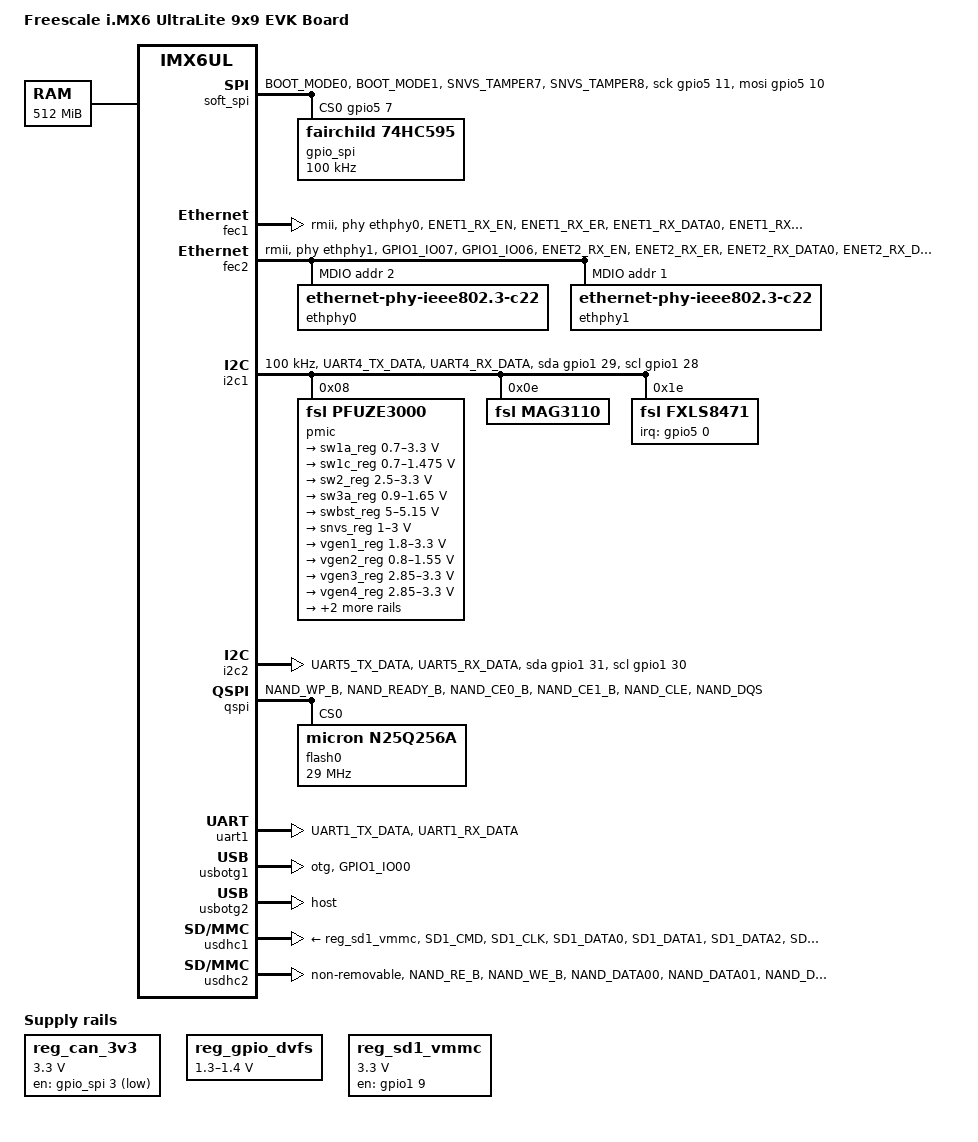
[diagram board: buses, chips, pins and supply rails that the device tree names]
// SPDX-License-Identifier: GPL-2.0+
/*
 * Copyright (C) 2015 Freescale Semiconductor, Inc.
 * Copyright 2017-2018 NXP
 */

/dts-v1/;

#include "imx6ul.dtsi"

/ {
	model = "Freescale i.MX6 UltraLite 9x9 EVK Board";
	compatible = "fsl,imx6ul-9x9-evk", "fsl,imx6ul";

	aliases {
		spi5 = &soft_spi;
	};

	chosen {
		stdout-path = &uart1;
	};

	memory {
		reg = <0x80000000 0x20000000>;
	};

	regulators {
		compatible = "simple-bus";
		#address-cells = <1>;
		#size-cells = <0>;

		reg_can_3v3: regulator@0 {
			compatible = "regulator-fixed";
			reg = <0>;
			regulator-name = "can-3v3";
			regulator-min-microvolt = <3300000>;
			regulator-max-microvolt = <3300000>;
			gpios = <&gpio_spi 3 GPIO_ACTIVE_LOW>;
		};

		reg_gpio_dvfs: regulator-gpio {
			compatible = "regulator-gpio";
			pinctrl-names = "default";
			pinctrl-0 = <&pinctrl_dvfs>;
			regulator-min-microvolt = <1300000>;
			regulator-max-microvolt = <1400000>;
			regulator-name = "gpio_dvfs";
			regulator-type = "voltage";
			gpios = <&gpio5 3 GPIO_ACTIVE_HIGH>;
			states = <1300000 0x1 1400000 0x0>;
		};

		reg_sd1_vmmc: regulator@1 {
			compatible = "regulator-fixed";
			regulator-name = "VSD_3V3";
			regulator-min-microvolt = <3300000>;
			regulator-max-microvolt = <3300000>;
			gpio = <&gpio1 9 GPIO_ACTIVE_HIGH>;
			off-on-delay = <20000>;
			enable-active-high;
		};
	};

	soft_spi: soft-spi {
		compatible = "spi-gpio";
		pinctrl-names = "default";
		pinctrl-0 = <&pinctrl_spi4>;
		pinctrl-assert-gpios = <&gpio5 8 GPIO_ACTIVE_LOW>;
		status = "okay";
		gpio-sck = <&gpio5 11 0>;
		gpio-mosi = <&gpio5 10 0>;
		cs-gpios = <&gpio5 7 0>;
		num-chipselects = <1>;
		#address-cells = <1>;
		#size-cells = <0>;

		gpio_spi: gpio_spi@0 {
			compatible = "fairchild,74hc595";
			gpio-controller;
			#gpio-cells = <2>;
			reg = <0>;
			registers-number = <1>;
			registers-default = /bits/ 8 <0x57>;
			spi-max-frequency = <100000>;
		};
	};
};

&fec1 {
	pinctrl-names = "default";
	pinctrl-0 = <&pinctrl_enet1>;
	phy-mode = "rmii";
	phy-handle = <&ethphy0>;
	status = "okay";
};

&fec2 {
	pinctrl-names = "default";
	pinctrl-0 = <&pinctrl_enet2>;
	phy-mode = "rmii";
	phy-handle = <&ethphy1>;
	status = "okay";

	mdio {
		#address-cells = <1>;
		#size-cells = <0>;

		ethphy0: ethernet-phy@2 {
			compatible = "ethernet-phy-ieee802.3-c22";
			reg = <2>;
		};

		ethphy1: ethernet-phy@1 {
			compatible = "ethernet-phy-ieee802.3-c22";
			reg = <1>;
		};
	};
};

&i2c1 {
	clock-frequency = <100000>;
	pinctrl-names = "default", "gpio";
	pinctrl-0 = <&pinctrl_i2c1>;
	pinctrl-1 = <&pinctrl_i2c1_gpio>;
	scl-gpios = <&gpio1 28 GPIO_ACTIVE_HIGH>;
	sda-gpios = <&gpio1 29 GPIO_ACTIVE_HIGH>;
	status = "okay";

	pmic: pfuze3000@08 {
		compatible = "fsl,pfuze3000";
		reg = <0x08>;

		regulators {
			sw1a_reg: sw1a {
					regulator-min-microvolt = <700000>;
					regulator-max-microvolt = <3300000>;
					regulator-boot-on;
					regulator-always-on;
					regulator-ramp-delay = <6250>;
			};

			/* use sw1c_reg to align with pfuze100/pfuze200 */
			sw1c_reg: sw1b {
				regulator-min-microvolt = <700000>;
				regulator-max-microvolt = <1475000>;
				regulator-boot-on;
				regulator-always-on;
				regulator-ramp-delay = <6250>;
			};

			sw2_reg: sw2 {
				regulator-min-microvolt = <2500000>;
				regulator-max-microvolt = <3300000>;
				regulator-boot-on;
				regulator-always-on;
			};

			sw3a_reg: sw3 {
				regulator-min-microvolt = <900000>;
				regulator-max-microvolt = <1650000>;
				regulator-boot-on;
				regulator-always-on;
			};

			swbst_reg: swbst {
				regulator-min-microvolt = <5000000>;
				regulator-max-microvolt = <5150000>;
			};

			snvs_reg: vsnvs {
				regulator-min-microvolt = <1000000>;
				regulator-max-microvolt = <3000000>;
				regulator-boot-on;
				regulator-always-on;
			};

			vref_reg: vrefddr {
				regulator-boot-on;
				regulator-always-on;
			};

			vgen1_reg: vldo1 {
				regulator-min-microvolt = <1800000>;
				regulator-max-microvolt = <3300000>;
				regulator-always-on;
			};

			vgen2_reg: vldo2 {
				regulator-min-microvolt = <800000>;
				regulator-max-microvolt = <1550000>;
				regulator-always-on;
			};

			vgen3_reg: vccsd {
				regulator-min-microvolt = <2850000>;
				regulator-max-microvolt = <3300000>;
				regulator-always-on;
			};

			vgen4_reg: v33 {
				regulator-min-microvolt = <2850000>;
				regulator-max-microvolt = <3300000>;
				regulator-always-on;
			};

			vgen5_reg: vldo3 {
				regulator-min-microvolt = <1800000>;
				regulator-max-microvolt = <3300000>;
				regulator-always-on;
			};

			vgen6_reg: vldo4 {
				regulator-min-microvolt = <1800000>;
				regulator-max-microvolt = <3300000>;
				regulator-always-on;
			};
		};
	};

	mag3110@0e {
		compatible = "fsl,mag3110";
		reg = <0x0e>;
		position = <2>;
	};

	fxls8471@1e {
		compatible = "fsl,fxls8471";
		reg = <0x1e>;
		position = <0>;
		interrupt-parent = <&gpio5>;
		interrupts = <0 8>;
	};
};

&i2c2 {
	clock_frequency = <100000>;
	pinctrl-names = "default", "gpio";
	pinctrl-0 = <&pinctrl_i2c2>;
	pinctrl-1 = <&pinctrl_i2c2_gpio>;
	scl-gpios = <&gpio1 30 GPIO_ACTIVE_HIGH>;
	sda-gpios = <&gpio1 31 GPIO_ACTIVE_HIGH>;
	status = "okay";
};

&iomuxc {
	pinctrl-names = "default";
	pinctrl-0 = <&pinctrl_hog_1>;
	imx6ul-evk {

		pinctrl_dvfs: dvfsgrp {
			fsl,pins = <
				MX6UL_PAD_SNVS_TAMPER3__GPIO5_IO03	0x79
			>;
		};

		pinctrl_enet1: enet1grp {
			fsl,pins = <
				MX6UL_PAD_ENET1_RX_EN__ENET1_RX_EN	0x1b0b0
				MX6UL_PAD_ENET1_RX_ER__ENET1_RX_ER	0x1b0b0
				MX6UL_PAD_ENET1_RX_DATA0__ENET1_RDATA00	0x1b0b0
				MX6UL_PAD_ENET1_RX_DATA1__ENET1_RDATA01	0x1b0b0
				MX6UL_PAD_ENET1_TX_EN__ENET1_TX_EN	0x1b0b0
				MX6UL_PAD_ENET1_TX_DATA0__ENET1_TDATA00	0x1b0b0
				MX6UL_PAD_ENET1_TX_DATA1__ENET1_TDATA01	0x1b0b0
				MX6UL_PAD_ENET1_TX_CLK__ENET1_REF_CLK1	0x4001b031
			>;
		};

		pinctrl_enet2: enet2grp {
			fsl,pins = <
				MX6UL_PAD_GPIO1_IO07__ENET2_MDC		0x1b0b0
				MX6UL_PAD_GPIO1_IO06__ENET2_MDIO	0x1b0b0
				MX6UL_PAD_ENET2_RX_EN__ENET2_RX_EN	0x1b0b0
				MX6UL_PAD_ENET2_RX_ER__ENET2_RX_ER	0x1b0b0
				MX6UL_PAD_ENET2_RX_DATA0__ENET2_RDATA00	0x1b0b0
				MX6UL_PAD_ENET2_RX_DATA1__ENET2_RDATA01	0x1b0b0
				MX6UL_PAD_ENET2_TX_EN__ENET2_TX_EN	0x1b0b0
				MX6UL_PAD_ENET2_TX_DATA0__ENET2_TDATA00	0x1b0b0
				MX6UL_PAD_ENET2_TX_DATA1__ENET2_TDATA01	0x1b0b0
				MX6UL_PAD_ENET2_TX_CLK__ENET2_REF_CLK2	0x4001b031
				MX6UL_PAD_SNVS_TAMPER0__GPIO5_IO00	0x80000000
			>;
		};

		pinctrl_hog_1: hoggrp-1 {
			fsl,pins = <
				MX6UL_PAD_UART1_RTS_B__GPIO1_IO19	0x17059 /* SD1 CD */
				MX6UL_PAD_GPIO1_IO05__USDHC1_VSELECT	0x17059 /* SD1 VSELECT */
				MX6UL_PAD_GPIO1_IO09__GPIO1_IO09        0x17059 /* SD1 RESET */
			>;
		};

		pinctrl_i2c1: i2c1grp {
			fsl,pins = <
				MX6UL_PAD_UART4_TX_DATA__I2C1_SCL 0x4001b8b0
				MX6UL_PAD_UART4_RX_DATA__I2C1_SDA 0x4001b8b0
			>;
		};

		pinctrl_i2c1_gpio: i2c1grp_gpio {
			fsl,pins = <
				MX6UL_PAD_UART4_TX_DATA__GPIO1_IO28 0x1b8b0
				MX6UL_PAD_UART4_RX_DATA__GPIO1_IO29 0x1b8b0
			>;
		};

		pinctrl_i2c2: i2c2grp {
			fsl,pins = <
				MX6UL_PAD_UART5_TX_DATA__I2C2_SCL 0x4001b8b0
				MX6UL_PAD_UART5_RX_DATA__I2C2_SDA 0x4001b8b0
			>;
		};

		pinctrl_i2c2_gpio: i2c2grp_gpio {
			fsl,pins = <
				MX6UL_PAD_UART5_TX_DATA__GPIO1_IO30 0x1b8b0
				MX6UL_PAD_UART5_RX_DATA__GPIO1_IO31 0x1b8b0
			>;
		};

		pinctrl_qspi: qspigrp {
			fsl,pins = <
				MX6UL_PAD_NAND_WP_B__QSPI_A_SCLK      0x70a1
				MX6UL_PAD_NAND_READY_B__QSPI_A_DATA00 0x70a1
				MX6UL_PAD_NAND_CE0_B__QSPI_A_DATA01   0x70a1
				MX6UL_PAD_NAND_CE1_B__QSPI_A_DATA02   0x70a1
				MX6UL_PAD_NAND_CLE__QSPI_A_DATA03     0x70a1
				MX6UL_PAD_NAND_DQS__QSPI_A_SS0_B      0x70a1
			>;
		};


		pinctrl_spi4: spi4grp {
			fsl,pins = <
				MX6UL_PAD_BOOT_MODE0__GPIO5_IO10	0x70a1
				MX6UL_PAD_BOOT_MODE1__GPIO5_IO11	0x70a1
				MX6UL_PAD_SNVS_TAMPER7__GPIO5_IO07	0x70a1
				MX6UL_PAD_SNVS_TAMPER8__GPIO5_IO08	0x80000000
			>;
		};

		pinctrl_uart1: uart1grp {
			fsl,pins = <
				MX6UL_PAD_UART1_TX_DATA__UART1_DCE_TX 0x1b0b1
				MX6UL_PAD_UART1_RX_DATA__UART1_DCE_RX 0x1b0b1
			>;
		};

		pinctrl_usb_otg1_id: usbotg1idgrp {
			fsl,pins = <
				MX6UL_PAD_GPIO1_IO00__ANATOP_OTG1_ID    0x17059
			>;
		};

		pinctrl_usdhc1: usdhc1grp {
			fsl,pins = <
				MX6UL_PAD_SD1_CMD__USDHC1_CMD     0x17059
				MX6UL_PAD_SD1_CLK__USDHC1_CLK     0x10059
				MX6UL_PAD_SD1_DATA0__USDHC1_DATA0 0x17059
				MX6UL_PAD_SD1_DATA1__USDHC1_DATA1 0x17059
				MX6UL_PAD_SD1_DATA2__USDHC1_DATA2 0x17059
				MX6UL_PAD_SD1_DATA3__USDHC1_DATA3 0x17059
			>;
		};

		pinctrl_usdhc1_100mhz: usdhc1grp100mhz {
			fsl,pins = <
				MX6UL_PAD_SD1_CMD__USDHC1_CMD     0x170b9
				MX6UL_PAD_SD1_CLK__USDHC1_CLK     0x100b9
				MX6UL_PAD_SD1_DATA0__USDHC1_DATA0 0x170b9
				MX6UL_PAD_SD1_DATA1__USDHC1_DATA1 0x170b9
				MX6UL_PAD_SD1_DATA2__USDHC1_DATA2 0x170b9
				MX6UL_PAD_SD1_DATA3__USDHC1_DATA3 0x170b9
			>;
		};

		pinctrl_usdhc1_200mhz: usdhc1grp200mhz {
			fsl,pins = <
				MX6UL_PAD_SD1_CMD__USDHC1_CMD     0x170f9
				MX6UL_PAD_SD1_CLK__USDHC1_CLK     0x100f9
				MX6UL_PAD_SD1_DATA0__USDHC1_DATA0 0x170f9
				MX6UL_PAD_SD1_DATA1__USDHC1_DATA1 0x170f9
				MX6UL_PAD_SD1_DATA2__USDHC1_DATA2 0x170f9
				MX6UL_PAD_SD1_DATA3__USDHC1_DATA3 0x170f9
			>;
		};

		pinctrl_usdhc2: usdhc2grp {
			fsl,pins = <
				MX6UL_PAD_NAND_RE_B__USDHC2_CLK     0x17059
				MX6UL_PAD_NAND_WE_B__USDHC2_CMD     0x17059
				MX6UL_PAD_NAND_DATA00__USDHC2_DATA0 0x17059
				MX6UL_PAD_NAND_DATA01__USDHC2_DATA1 0x17059
				MX6UL_PAD_NAND_DATA02__USDHC2_DATA2 0x17059
				MX6UL_PAD_NAND_DATA03__USDHC2_DATA3 0x17059
			>;
		};

		pinctrl_wdog: wdoggrp {
			fsl,pins = <
				MX6UL_PAD_LCD_RESET__WDOG1_WDOG_ANY    0x30b0
			>;
		};
	};
};

&qspi {
	pinctrl-names = "default";
	pinctrl-0 = <&pinctrl_qspi>;
	status = "okay";
	ddrsmp=<0>;

	flash0: n25q256a@0 {
		#address-cells = <1>;
		#size-cells = <1>;
		compatible = "micron,n25q256a";
		spi-max-frequency = <29000000>;
		spi-nor,ddr-quad-read-dummy = <6>;
		reg = <0>;
	};
};

&uart1 {
	pinctrl-names = "default";
	pinctrl-0 = <&pinctrl_uart1>;
	status = "okay";
};

&usbotg1 {
	pinctrl-names = "default";
	pinctrl-0 = <&pinctrl_usb_otg1_id>;
	dr_mode = "otg";
	srp-disable;
	hnp-disable;
	adp-disable;
	status = "okay";
};

&usbotg2 {
	dr_mode = "host";
	disable-over-current;
	status = "okay";
};

&usdhc1 {
	pinctrl-names = "default", "state_100mhz", "state_200mhz";
	pinctrl-0 = <&pinctrl_usdhc1>;
	pinctrl-1 = <&pinctrl_usdhc1_100mhz>;
	pinctrl-2 = <&pinctrl_usdhc1_200mhz>;
	cd-gpios = <&gpio1 19 GPIO_ACTIVE_LOW>;
	keep-power-in-suspend;
	enable-sdio-wakeup;
	vmmc-supply = <&reg_sd1_vmmc>;
	status = "okay";
};

&usdhc2 {
	pinctrl-names = "default";
	pinctrl-0 = <&pinctrl_usdhc2>;
	no-1-8-v;
	non-removable;
	keep-power-in-suspend;
	enable-sdio-wakeup;
	status = "okay";
};

&wdog1 {
	pinctrl-names = "default";
	pinctrl-0 = <&pinctrl_wdog>;
	fsl,ext-reset-output;
};
